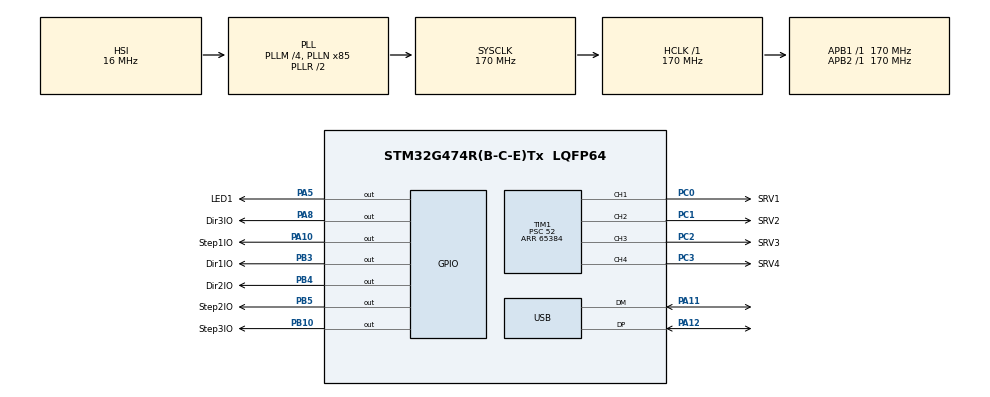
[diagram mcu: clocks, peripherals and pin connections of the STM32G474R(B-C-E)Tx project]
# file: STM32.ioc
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Mcu.Family=STM32G4
Mcu.Name=STM32G474R(B-C-E)Tx
Mcu.Package=LQFP64
NVIC.PriorityGroup=NVIC_PRIORITYGROUP_4
NVIC.TIM6_DAC_IRQn=true\:1\:0\:true\:false\:true\:true\:true
NVIC.USB_LP_IRQn=true\:3\:0\:true\:false\:true\:false\:true
PA10.GPIO_Label=Step1IO
PA10.Signal=GPIO_Output
PA11.Mode=Device
PA11.Signal=USB_DM
PA12.Mode=Device
PA12.Signal=USB_DP
PA5.GPIO_Label=LED1
PA5.Signal=GPIO_Output
PA8.GPIO_Label=Dir3IO
PA8.Signal=GPIO_Output
PB10.GPIO_Label=Step3IO
PB10.Signal=GPIO_Output
PB3.GPIO_Label=Dir1IO
PB3.Signal=GPIO_Output
PB4.GPIO_Label=Dir2IO
PB4.Signal=GPIO_Output
PB5.GPIO_Label=Step2IO
PB5.Signal=GPIO_Output
PC0.GPIO_Label=SRV1
PC0.Signal=S_TIM1_CH1
PC1.GPIO_Label=SRV2
PC1.Signal=S_TIM1_CH2
PC2.GPIO_Label=SRV3
PC2.Signal=S_TIM1_CH3
PC3.GPIO_Label=SRV4
PC3.Signal=S_TIM1_CH4
ProjectManager.HeapSize=0x200
ProjectManager.StackSize=0x400
ProjectManager.TargetToolchain=STM32CubeIDE
RCC.ADC12Freq_Value=170000000
RCC.ADC345Freq_Value=170000000
RCC.AHBFreq_Value=170000000
RCC.APB1Freq_Value=170000000
RCC.APB1TimFreq_Value=170000000
RCC.APB2Freq_Value=170000000
RCC.APB2TimFreq_Value=170000000
RCC.CK48CLockSelection=RCC_USBCLKSOURCE_HSI48
RCC.CortexFreq_Value=170000000
RCC.EXTERNAL_CLOCK_VALUE=12288000
RCC.HCLKFreq_Value=170000000
RCC.HSE_VALUE=8000000
RCC.HSI48_VALUE=48000000
RCC.HSI_VALUE=16000000
RCC.LSE_VALUE=32768
RCC.PLLM=RCC_PLLM_DIV4
RCC.PLLN=85
RCC.SYSCLKFreq_VALUE=170000000
RCC.SYSCLKSource=RCC_SYSCLKSOURCE_PLLCLK
RCC.USBFreq_Value=48000000
RCC.VCOOutputFreq_Value=340000000
SH.S_TIM1_CH1.0=TIM1_CH1,PWM Generation1 CH1
SH.S_TIM1_CH2.0=TIM1_CH2,PWM Generation2 CH2
SH.S_TIM1_CH3.0=TIM1_CH3,PWM Generation3 CH3
SH.S_TIM1_CH4.0=TIM1_CH4,PWM Generation4 CH4
TIM1.Channel-PWM\ Generation1\ CH1=TIM_CHANNEL_1
TIM1.Channel-PWM\ Generation2\ CH2=TIM_CHANNEL_2
TIM1.Channel-PWM\ Generation3\ CH3=TIM_CHANNEL_3
TIM1.Channel-PWM\ Generation4\ CH4=TIM_CHANNEL_4
TIM1.PeriodNoDither=65384
TIM1.Prescaler=52
TIM1.PulseNoDither_1=3269
TIM1.PulseNoDither_2=1635
TIM1.PulseNoDither_3=3269
TIM1.PulseNoDither_4=3269
TIM6.PeriodNoDither=1700
USB_DEVICE.CLASS_NAME_FS=CDC
USB_DEVICE.VirtualMode=Cdc
USB_DEVICE.VirtualModeFS=Cdc_FS
VP_SYS_VS_DBSignals.Mode=DisableDeadBatterySignals
VP_TIM1_VS_ClockSourceINT.Mode=Internal
VP_TIM6_VS_ClockSourceINT.Mode=Enable_Timer
VP_USB_DEVICE_VS_USB_DEVICE_CDC_FS.Mode=CDC_FS
board=custom

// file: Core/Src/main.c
/* USER CODE BEGIN Header */
/**
  ******************************************************************************
  * @file           : main.c
  * @brief          : Main program body
  ******************************************************************************
  * @attention
  *
  * <h2><center>&copy; Copyright (c) 2020 STMicroelectronics.
  * All rights reserved.</center></h2>
  *
  * This software component is licensed by ST under BSD 3-Clause license,
  * the "License"; You may not use this file except in compliance with the
  * License. You may obtain a copy of the License at:
  *                        opensource.org/licenses/BSD-3-Clause
  *
  ******************************************************************************
  */
/* USER CODE END Header */
#include "main.h"
#include "usb_device.h"

/* USER CODE BEGIN Includes */
#include "usbd_cdc_if.h"
#include "retarget.h"
#include "isr.h"

/* USER CODE END Includes */

TIM_HandleTypeDef htim1;
TIM_HandleTypeDef htim6;

void SystemClock_Config(void);
static void MX_GPIO_Init(void);
static void MX_TIM6_Init(void);
static void MX_TIM1_Init(void);

/* USER CODE BEGIN 0 */

void HAL_TIM_PeriodElapsedCallback(TIM_HandleTypeDef *htim)
{
  if (htim == &htim6)
  {
    high_ISR();
  }
}

/* USER CODE END 0 */

int main(void)
{

  /* MCU Configuration--------------------------------------------------------*/

  /* Reset of all peripherals, Initializes the Flash interface and the Systick. */
  HAL_Init();

  /* Configure the system clock */
  SystemClock_Config();

  /* Initialize all configured peripherals */
  MX_GPIO_Init();
  MX_USB_Device_Init();
  MX_TIM6_Init();
  MX_TIM1_Init();
  /* USER CODE BEGIN 2 */
  RetargetInit();
  /* USER CODE END 2 */

  /* Infinite loop */
  while (1)
  {

  }
}

void SystemClock_Config(void)
{
  RCC_OscInitTypeDef RCC_OscInitStruct = {0};
  RCC_ClkInitTypeDef RCC_ClkInitStruct = {0};
  RCC_PeriphCLKInitTypeDef PeriphClkInit = {0};

  /** Configure the main internal regulator output voltage
  */
  HAL_PWREx_ControlVoltageScaling(PWR_REGULATOR_VOLTAGE_SCALE1_BOOST);
  /** Initializes the RCC Oscillators according to the specified parameters
  * in the RCC_OscInitTypeDef structure.
  */
  RCC_OscInitStruct.OscillatorType = RCC_OSCILLATORTYPE_HSI|RCC_OSCILLATORTYPE_HSI48;
  RCC_OscInitStruct.HSIState = RCC_HSI_ON;
  RCC_OscInitStruct.HSICalibrationValue = RCC_HSICALIBRATION_DEFAULT;
  RCC_OscInitStruct.HSI48State = RCC_HSI48_ON;
  RCC_OscInitStruct.PLL.PLLState = RCC_PLL_ON;
  RCC_OscInitStruct.PLL.PLLSource = RCC_PLLSOURCE_HSI;
  RCC_OscInitStruct.PLL.PLLM = RCC_PLLM_DIV4;
  RCC_OscInitStruct.PLL.PLLN = 85;
  RCC_OscInitStruct.PLL.PLLP = RCC_PLLP_DIV2;
  RCC_OscInitStruct.PLL.PLLQ = RCC_PLLQ_DIV2;
  RCC_OscInitStruct.PLL.PLLR = RCC_PLLR_DIV2;
  if (HAL_RCC_OscConfig(&RCC_OscInitStruct) != HAL_OK)
  {
    Error_Handler();
  }
  /** Initializes the CPU, AHB and APB buses clocks
  */
  RCC_ClkInitStruct.ClockType = RCC_CLOCKTYPE_HCLK|RCC_CLOCKTYPE_SYSCLK
                              |RCC_CLOCKTYPE_PCLK1|RCC_CLOCKTYPE_PCLK2;
  RCC_ClkInitStruct.SYSCLKSource = RCC_SYSCLKSOURCE_PLLCLK;
  RCC_ClkInitStruct.AHBCLKDivider = RCC_SYSCLK_DIV1;
  RCC_ClkInitStruct.APB1CLKDivider = RCC_HCLK_DIV1;
  RCC_ClkInitStruct.APB2CLKDivider = RCC_HCLK_DIV1;

  if (HAL_RCC_ClockConfig(&RCC_ClkInitStruct, FLASH_LATENCY_4) != HAL_OK)
  {
    Error_Handler();
  }
  /** Initializes the peripherals clocks
  */
  PeriphClkInit.PeriphClockSelection = RCC_PERIPHCLK_USB;
  PeriphClkInit.UsbClockSelection = RCC_USBCLKSOURCE_HSI48;
  if (HAL_RCCEx_PeriphCLKConfig(&PeriphClkInit) != HAL_OK)
  {
    Error_Handler();
  }
}

static void MX_TIM1_Init(void)
{

  TIM_ClockConfigTypeDef sClockSourceConfig = {0};
  TIM_MasterConfigTypeDef sMasterConfig = {0};
  TIM_OC_InitTypeDef sConfigOC = {0};
  TIM_BreakDeadTimeConfigTypeDef sBreakDeadTimeConfig = {0};

  htim1.Instance = TIM1;
  htim1.Init.Prescaler = 52;
  htim1.Init.CounterMode = TIM_COUNTERMODE_UP;
  htim1.Init.Period = 65384;
  htim1.Init.ClockDivision = TIM_CLOCKDIVISION_DIV1;
  htim1.Init.RepetitionCounter = 0;
  htim1.Init.AutoReloadPreload = TIM_AUTORELOAD_PRELOAD_DISABLE;
  if (HAL_TIM_Base_Init(&htim1) != HAL_OK)
  {
    Error_Handler();
  }
  sClockSourceConfig.ClockSource = TIM_CLOCKSOURCE_INTERNAL;
  if (HAL_TIM_ConfigClockSource(&htim1, &sClockSourceConfig) != HAL_OK)
  {
    Error_Handler();
  }
  if (HAL_TIM_PWM_Init(&htim1) != HAL_OK)
  {
    Error_Handler();
  }
  sMasterConfig.MasterOutputTrigger = TIM_TRGO_RESET;
  sMasterConfig.MasterOutputTrigger2 = TIM_TRGO2_RESET;
  sMasterConfig.MasterSlaveMode = TIM_MASTERSLAVEMODE_DISABLE;
  if (HAL_TIMEx_MasterConfigSynchronization(&htim1, &sMasterConfig) != HAL_OK)
  {
    Error_Handler();
  }
  sConfigOC.OCMode = TIM_OCMODE_PWM1;
  sConfigOC.Pulse = 3269;
  sConfigOC.OCPolarity = TIM_OCPOLARITY_HIGH;
  sConfigOC.OCNPolarity = TIM_OCNPOLARITY_HIGH;
  sConfigOC.OCFastMode = TIM_OCFAST_DISABLE;
  sConfigOC.OCIdleState = TIM_OCIDLESTATE_RESET;
  sConfigOC.OCNIdleState = TIM_OCNIDLESTATE_RESET;
  if (HAL_TIM_PWM_ConfigChannel(&htim1, &sConfigOC, TIM_CHANNEL_1) != HAL_OK)
  {
    Error_Handler();
  }
  sConfigOC.Pulse = 1635;
  if (HAL_TIM_PWM_ConfigChannel(&htim1, &sConfigOC, TIM_CHANNEL_2) != HAL_OK)
  {
    Error_Handler();
  }
  sConfigOC.Pulse = 3269;
  if (HAL_TIM_PWM_ConfigChannel(&htim1, &sConfigOC, TIM_CHANNEL_3) != HAL_OK)
  {
    Error_Handler();
  }
  sConfigOC.Pulse = 3269;
  sConfigOC.OCNPolarity = TIM_OCNPOLARITY_HIGH;
  if (HAL_TIM_PWM_ConfigChannel(&htim1, &sConfigOC, TIM_CHANNEL_4) != HAL_OK)
  {
    Error_Handler();
  }
  sBreakDeadTimeConfig.OffStateRunMode = TIM_OSSR_DISABLE;
  sBreakDeadTimeConfig.OffStateIDLEMode = TIM_OSSI_DISABLE;
  sBreakDeadTimeConfig.LockLevel = TIM_LOCKLEVEL_OFF;
  sBreakDeadTimeConfig.DeadTime = 0;
  sBreakDeadTimeConfig.BreakState = TIM_BREAK_DISABLE;
  sBreakDeadTimeConfig.BreakPolarity = TIM_BREAKPOLARITY_HIGH;
  sBreakDeadTimeConfig.BreakFilter = 0;
  sBreakDeadTimeConfig.BreakAFMode = TIM_BREAK_AFMODE_INPUT;
  sBreakDeadTimeConfig.Break2State = TIM_BREAK2_DISABLE;
  sBreakDeadTimeConfig.Break2Polarity = TIM_BREAK2POLARITY_HIGH;
  sBreakDeadTimeConfig.Break2Filter = 0;
  sBreakDeadTimeConfig.Break2AFMode = TIM_BREAK_AFMODE_INPUT;
  sBreakDeadTimeConfig.AutomaticOutput = TIM_AUTOMATICOUTPUT_DISABLE;
  if (HAL_TIMEx_ConfigBreakDeadTime(&htim1, &sBreakDeadTimeConfig) != HAL_OK)
  {
    Error_Handler();
  }
  /* USER CODE BEGIN TIM1_Init 2 */

  if (HAL_TIM_PWM_Start(&htim1, TIM_CHANNEL_1) != HAL_OK)
  {
    Error_Handler();
  }
  if (HAL_TIM_PWM_Start(&htim1, TIM_CHANNEL_2) != HAL_OK)
  {
    Error_Handler();
  }
  if (HAL_TIM_PWM_Start(&htim1, TIM_CHANNEL_3) != HAL_OK)
  {
    Error_Handler();
  }
  if (HAL_TIM_PWM_Start(&htim1, TIM_CHANNEL_4) != HAL_OK)
  {
    Error_Handler();
  }

  /* USER CODE END TIM1_Init 2 */
  HAL_TIM_MspPostInit(&htim1);

}

static void MX_TIM6_Init(void)
{

  TIM_MasterConfigTypeDef sMasterConfig = {0};

  htim6.Instance = TIM6;
  htim6.Init.Prescaler = 0;
  htim6.Init.CounterMode = TIM_COUNTERMODE_UP;
  htim6.Init.Period = 1700;
  htim6.Init.AutoReloadPreload = TIM_AUTORELOAD_PRELOAD_DISABLE;
  if (HAL_TIM_Base_Init(&htim6) != HAL_OK)
  {
    Error_Handler();
  }
  sMasterConfig.MasterOutputTrigger = TIM_TRGO_RESET;
  sMasterConfig.MasterSlaveMode = TIM_MASTERSLAVEMODE_DISABLE;
  if (HAL_TIMEx_MasterConfigSynchronization(&htim6, &sMasterConfig) != HAL_OK)
  {
    Error_Handler();
  }
  /* USER CODE BEGIN TIM6_Init 2 */

  if (HAL_TIM_Base_Start_IT(&htim6) != HAL_OK)
  {
    Error_Handler();
  }

  /* USER CODE END TIM6_Init 2 */

}

static void MX_GPIO_Init(void)
{
  GPIO_InitTypeDef GPIO_InitStruct = {0};

  /* GPIO Ports Clock Enable */
  __HAL_RCC_GPIOC_CLK_ENABLE();
  __HAL_RCC_GPIOA_CLK_ENABLE();
  __HAL_RCC_GPIOB_CLK_ENABLE();

  /*Configure GPIO pin Output Level */
  HAL_GPIO_WritePin(GPIOA, LED1_Pin|Dir3IO_Pin|Step1IO_Pin, GPIO_PIN_RESET);

  /*Configure GPIO pin Output Level */
  HAL_GPIO_WritePin(GPIOB, Step3IO_Pin|Dir1IO_Pin|Dir2IO_Pin|Step2IO_Pin, GPIO_PIN_RESET);

  /*Configure GPIO pins : LED1_Pin Dir3IO_Pin Step1IO_Pin */
  GPIO_InitStruct.Pin = LED1_Pin|Dir3IO_Pin|Step1IO_Pin;
  GPIO_InitStruct.Mode = GPIO_MODE_OUTPUT_PP;
  GPIO_InitStruct.Pull = GPIO_NOPULL;
  GPIO_InitStruct.Speed = GPIO_SPEED_FREQ_LOW;
  HAL_GPIO_Init(GPIOA, &GPIO_InitStruct);

  /*Configure GPIO pins : Step3IO_Pin Dir1IO_Pin Dir2IO_Pin Step2IO_Pin */
  GPIO_InitStruct.Pin = Step3IO_Pin|Dir1IO_Pin|Dir2IO_Pin|Step2IO_Pin;
  GPIO_InitStruct.Mode = GPIO_MODE_OUTPUT_PP;
  GPIO_InitStruct.Pull = GPIO_NOPULL;
  GPIO_InitStruct.Speed = GPIO_SPEED_FREQ_LOW;
  HAL_GPIO_Init(GPIOB, &GPIO_InitStruct);

}

void Error_Handler(void)
{
}

/************************ (C) COPYRIGHT STMicroelectronics *****END OF FILE****/
